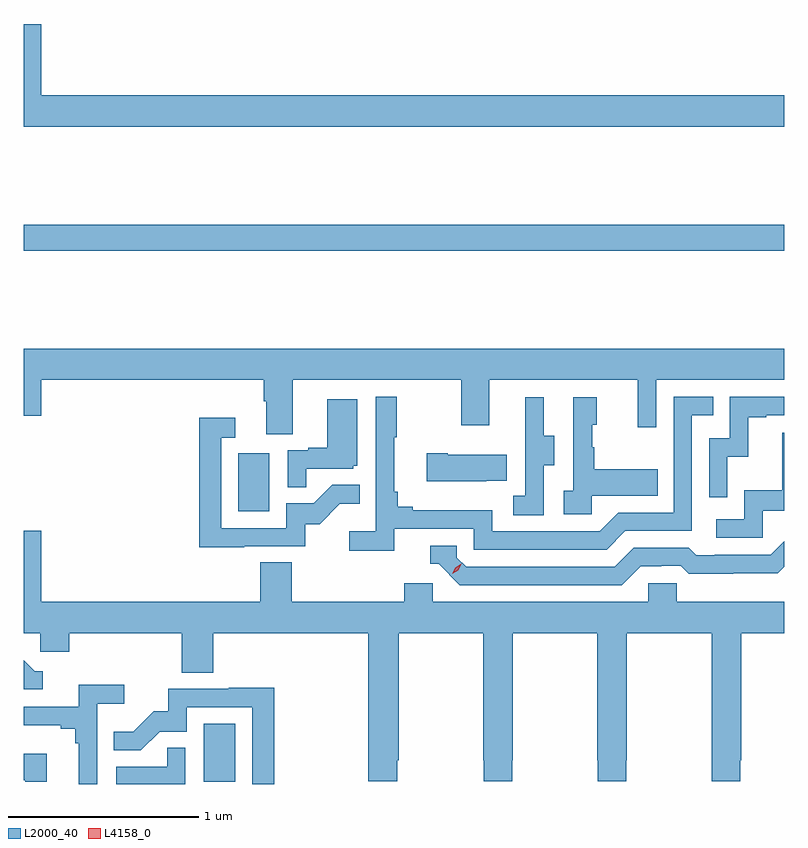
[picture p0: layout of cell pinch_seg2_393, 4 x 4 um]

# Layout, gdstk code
import gdstk
lib = gdstk.Library(unit=1e-6, precision=1e-09)
def R(c, l, rs):  # rectangles x0, y0, x1, y1
    for r in rs: c.add(gdstk.rectangle(r[:2], r[2:], *l))
def P(c, l, *ps):  # polygons
    for p in ps: c.add(gdstk.Polygon(p, *l))
L2000_40 = (2000, 40)
L4158_0 = (4158, 0)

pinch_seg2_393 = lib.new_cell('pinch_seg2_393')
R(pinch_seg2_393, L2000_40, [(981.212,622.878,981.376,623.185), (981.392,624.3,981.556,624.607), (980.264,625.672,984.264,625.808)])
P(pinch_seg2_393, L2000_40, [(984.264,626.488),(980.356,626.488),(980.356,626.863),(980.264,626.863),(980.264,626.324),(984.264,626.324)],
  [(981.679,624.992),(982.564,624.992),(982.564,624.753),(982.711,624.753),(982.711,624.992),(983.492,624.992),(983.492,624.744),(983.589,624.744),(983.589,624.992),(984.264,624.992),(984.264,625.156),(980.264,625.156),(980.264,624.804),(980.356,624.804),(980.356,624.992),(981.527,624.992),(981.527,624.88),(981.539,624.88),(981.539,624.706),(981.679,624.706)],
  [(982.214,624.21),(982.632,624.21),(982.632,624.099),(983.329,624.099),(983.428,624.198),(983.778,624.198),(983.778,624.807),(983.891,624.807),(983.891,624.903),(983.682,624.903),(983.682,624.294),(983.391,624.294),(983.292,624.195),(982.728,624.195),(982.728,624.307),(982.309,624.307),(982.309,624.326),(982.232,624.326),(982.232,624.403),(982.213,624.403),(982.213,624.691),(982.225,624.691),(982.225,624.904),(982.116,624.904),(982.116,624.196),(981.975,624.196),(981.975,624.094),(982.214,624.094)],
  [(983.964,624.587),(984.074,624.587),(984.074,624.795),(984.169,624.795),(984.169,624.807),(984.264,624.807),(984.264,624.903),(983.976,624.903),(983.976,624.684),(983.868,624.684),(983.868,624.375),(983.964,624.375)],
  [(983.25,624.383),(983.597,624.383),(983.597,624.523),(983.263,624.523),(983.263,624.638),(983.253,624.638),(983.253,624.756),(983.278,624.756),(983.278,624.901),(983.154,624.901),(983.154,624.41),(983.103,624.41),(983.103,624.285),(983.25,624.285)],
  [(982.998,624.544),(983.053,624.544),(983.053,624.699),(982.999,624.699),(982.999,624.901),(982.901,624.901),(982.901,624.687),(982.902,624.687),(982.902,624.383),(982.839,624.383),(982.839,624.28),(982.998,624.28)],
  [(981.749,624.525),(981.996,624.525),(981.996,624.54),(982.018,624.54),(982.018,624.889),(981.86,624.889),(981.86,624.634),(981.761,624.634),(981.761,624.621),(981.654,624.621),(981.654,624.427),(981.749,624.427)],
  [(981.425,624.117),(981.744,624.117),(981.744,624.234),(981.82,624.234),(981.927,624.341),(982.031,624.341),(982.031,624.44),(981.887,624.44),(981.789,624.342),(981.645,624.342),(981.645,624.213),(981.303,624.213),(981.303,624.687),(981.376,624.687),(981.376,624.793),(981.187,624.793),(981.187,624.112),(981.425,624.112)],
  [(984.15,624.303),(984.264,624.303),(984.264,624.715),(984.253,624.715),(984.253,624.412),(984.054,624.412),(984.054,624.258),(983.907,624.258),(983.907,624.162),(984.15,624.162)],
  [(982.697,624.461),(982.805,624.461),(982.805,624.598),(982.495,624.598),(982.495,624.606),(982.383,624.606),(982.383,624.458),(982.697,624.458)],
  [(982.416,623.922),(982.265,623.922),(982.265,623.824),(981.674,623.824),(981.674,624.032),(981.509,624.032),(981.509,623.824),(980.356,623.824),(980.356,624.199),(980.264,624.199),(980.264,623.66),(980.352,623.66),(980.352,623.562),(980.504,623.562),(980.504,623.66),(981.095,623.66),(981.095,623.452),(981.26,623.452),(981.26,623.66),(982.076,623.66),(982.076,622.881),(982.229,622.881),(982.229,622.993),(982.236,622.993),(982.236,623.66),(982.681,623.66),(982.681,622.993),(982.683,622.993),(982.683,622.881),(982.833,622.881),(982.833,622.993),(982.836,622.993),(982.836,623.66),(983.281,623.66),(983.281,622.993),(983.283,622.993),(983.283,622.881),(983.433,622.881),(983.433,622.993),(983.436,622.993),(983.436,623.66),(983.881,623.66),(983.881,622.993),(983.883,622.993),(983.883,622.881),(984.033,622.881),(984.033,622.993),(984.036,622.993),(984.036,623.66),(984.264,623.66),(984.264,623.824),(983.697,623.824),(983.697,623.922),(983.547,623.922),(983.547,623.824),(982.416,623.824)],
  [(983.509,624.012),(983.616,624.012),(983.616,624.015),(983.719,624.015),(983.761,623.973),(983.994,623.973),(983.994,623.975),(984.23,623.975),(984.264,624.009),(984.264,624.144),(984.192,624.072),(983.899,624.072),(983.899,624.069),(983.8,624.069),(983.761,624.108),(983.472,624.108),(983.373,624.009),(982.59,624.009),(982.542,624.057),(982.542,624.12),(982.403,624.12),(982.403,624.024),(982.446,624.024),(982.557,623.913),(983.41,623.913)],
  [(980.365,623.46),(980.322,623.46),(980.264,623.518),(980.264,623.364),(980.365,623.364)],
  [(980.652,623.288),(980.794,623.288),(980.794,623.39),(980.555,623.39),(980.555,623.274),(980.264,623.274),(980.264,623.177),(980.459,623.177),(980.459,623.158),(980.536,623.158),(980.536,623.081),(980.555,623.081),(980.555,622.867),(980.652,622.867)],
  [(981.581,623.372),(981.343,623.372),(981.343,623.367),(981.025,623.367),(981.025,623.25),(980.948,623.25),(980.841,623.143),(980.737,623.143),(980.737,623.044),(980.881,623.044),(980.979,623.142),(981.123,623.142),(981.123,623.271),(981.465,623.271),(981.465,622.867),(981.581,622.867)],
  [(981.114,623.057),(981.019,623.057),(981.019,622.959),(980.75,622.959),(980.75,622.867),(981.114,622.867)],
  [(980.386,623.026),(980.264,623.026),(980.264,622.886),(980.273,622.886),(980.273,622.879),(980.386,622.879)])
P(pinch_seg2_393, L4158_0, [(982.518,623.972),(982.518,623.972),(982.534,624.005),(982.565,624.024),(982.565,624.024),(982.565,624.023),(982.549,623.991),(982.518,623.972)])

lib.write_gds('pinch_seg2_393.gds')
